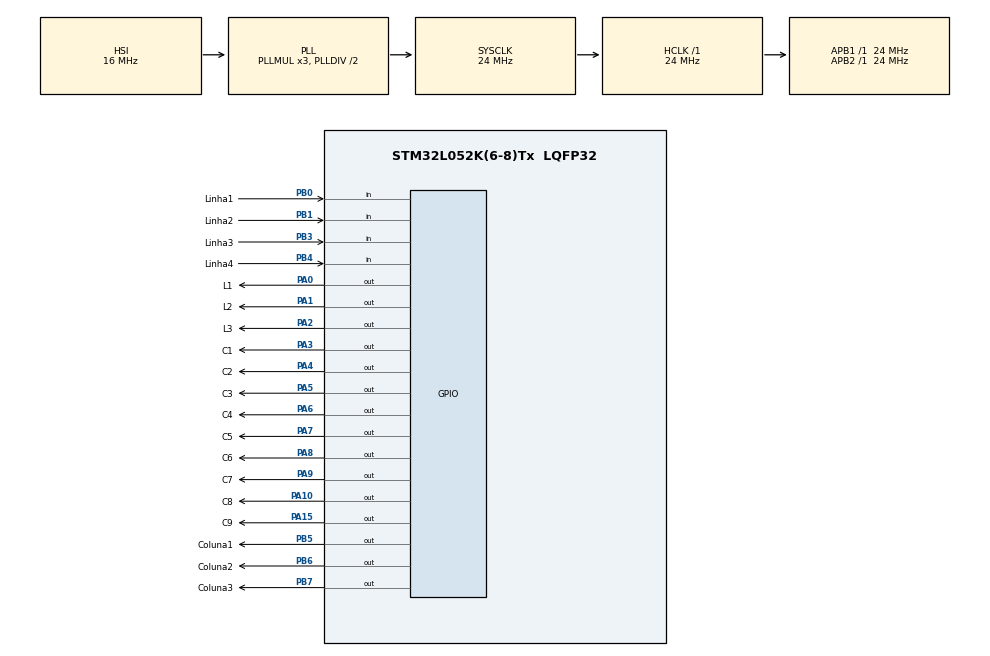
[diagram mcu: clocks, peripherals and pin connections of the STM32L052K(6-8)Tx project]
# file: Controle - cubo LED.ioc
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Mcu.Family=STM32L0
Mcu.Name=STM32L052K(6-8)Tx
Mcu.Package=LQFP32
NVIC.TIM6_DAC_IRQn=true\:0\:0\:false\:false\:true\:true\:true
PA0.GPIO_Label=L1
PA0.GPIO_PuPd=GPIO_PULLDOWN
PA0.Signal=GPIO_Output
PA1.GPIO_Label=L2
PA1.GPIO_PuPd=GPIO_PULLDOWN
PA1.Signal=GPIO_Output
PA10.GPIO_Label=C8
PA10.Signal=GPIO_Output
PA15.GPIO_Label=C9
PA15.Signal=GPIO_Output
PA2.GPIO_Label=L3
PA2.GPIO_PuPd=GPIO_PULLDOWN
PA2.Signal=GPIO_Output
PA3.GPIO_Label=C1
PA3.GPIO_PuPd=GPIO_NOPULL
PA3.Signal=GPIO_Output
PA4.GPIO_Label=C2
PA4.GPIO_PuPd=GPIO_NOPULL
PA4.Signal=GPIO_Output
PA5.GPIO_Label=C3
PA5.GPIO_PuPd=GPIO_NOPULL
PA5.Signal=GPIO_Output
PA6.GPIO_Label=C4
PA6.GPIO_PuPd=GPIO_NOPULL
PA6.Signal=GPIO_Output
PA7.GPIO_Label=C5
PA7.GPIO_PuPd=GPIO_NOPULL
PA7.Signal=GPIO_Output
PA8.GPIO_Label=C6
PA8.Signal=GPIO_Output
PA9.GPIO_Label=C7
PA9.Signal=GPIO_Output
PB0.GPIO_Label=Linha1
PB0.GPIO_PuPd=GPIO_PULLUP
PB0.Signal=GPIO_Input
PB1.GPIO_Label=Linha2
PB1.GPIO_PuPd=GPIO_PULLUP
PB1.Signal=GPIO_Input
PB3.GPIO_Label=Linha3
PB3.GPIO_PuPd=GPIO_PULLUP
PB3.Signal=GPIO_Input
PB4.GPIO_Label=Linha4
PB4.GPIO_PuPd=GPIO_PULLUP
PB4.Signal=GPIO_Input
PB5.GPIO_Label=Coluna1
PB5.Signal=GPIO_Output
PB6.GPIO_Label=Coluna2
PB6.Signal=GPIO_Output
PB7.GPIO_Label=Coluna3
PB7.Signal=GPIO_Output
ProjectManager.HeapSize=0x200
ProjectManager.StackSize=0x400
ProjectManager.TargetToolchain=MDK-ARM V5.32
RCC.AHBFreq_Value=24000000
RCC.APB1Freq_Value=24000000
RCC.APB1TimFreq_Value=24000000
RCC.APB2Freq_Value=24000000
RCC.APB2TimFreq_Value=24000000
RCC.HCLKFreq_Value=24000000
RCC.HSI16_VALUE=16000000
RCC.HSI48_VALUE=48000000
RCC.HSI_VALUE=16000000
RCC.LSE_VALUE=32768
RCC.MSI_VALUE=2097000
RCC.SYSCLKFreq_VALUE=24000000
RCC.SYSCLKSource=RCC_SYSCLKSOURCE_PLLCLK
RCC.VCOOutputFreq_Value=48000000
TIM6.AutoReloadPreload=TIM_AUTORELOAD_PRELOAD_ENABLE
TIM6.Period=240
TIM6.Prescaler=100
VP_TIM6_VS_ClockSourceINT.Mode=Enable_Timer
board=custom

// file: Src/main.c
/* USER CODE BEGIN Header */
/**
  ******************************************************************************
  * @file           : main.c
  * @brief          : Main program body
  ******************************************************************************
  * @attention
  *
  * Copyright (c) 2022 STMicroelectronics.
  * All rights reserved.
  *
  * This software is licensed under terms that can be found in the LICENSE file
  * in the root directory of this software component.
  * If no LICENSE file comes with this software, it is provided AS-IS.
  *
  ******************************************************************************
  */
/* USER CODE END Header */
#include "main.h"
#include "tim.h"
#include "gpio.h"

/* USER CODE BEGIN PD */

#define T_ligado 100
#define T_desligado 1
#define Transissao 75

/* USER CODE END PD */

/* USER CODE BEGIN PV */
	int y=1,x=0;
	int vtec=0;

	void controle(void);
	void vartec(void);

/* USER CODE END PV */

void SystemClock_Config(void);

/* USER CODE BEGIN 0 */

	int matriz [9][3]= {{0,0,0},{0,1,0},{0,0,0},	//	coluna (de 1 a 9) x layer(de 3 a 1)
											{0,1,0},{1,1,1},{0,1,0},
											{0,0,0},{0,1,0},{0,0,0}};

/* USER CODE END 0 */

int main(void)
{

  /* MCU Configuration--------------------------------------------------------*/

  /* Reset of all peripherals, Initializes the Flash interface and the Systick. */
  HAL_Init();

  /* Configure the system clock */
  SystemClock_Config();

  /* Initialize all configured peripherals */
  MX_GPIO_Init();
  MX_TIM6_Init();
  /* USER CODE BEGIN 2 */

	HAL_TIM_Base_Start_IT(&htim6);
  /* USER CODE END 2 */

  /* Infinite loop */
  /* USER CODE BEGIN WHILE */
  while (1)
  {
		switch(vtec)
		{
			case 1: //CIMA PARA BAIXO:
						  HAL_GPIO_WritePin(C1_GPIO_Port,C1_Pin,GPIO_PIN_SET);
							HAL_GPIO_WritePin(C2_GPIO_Port,C2_Pin,GPIO_PIN_SET);
							HAL_GPIO_WritePin(C3_GPIO_Port,C3_Pin,GPIO_PIN_SET);
							HAL_GPIO_WritePin(C4_GPIO_Port,C4_Pin,GPIO_PIN_SET);
							HAL_GPIO_WritePin(C5_GPIO_Port,C5_Pin,GPIO_PIN_SET);
							HAL_GPIO_WritePin(C6_GPIO_Port,C6_Pin,GPIO_PIN_SET);
							HAL_GPIO_WritePin(C7_GPIO_Port,C7_Pin,GPIO_PIN_SET);
							HAL_GPIO_WritePin(C8_GPIO_Port,C8_Pin,GPIO_PIN_SET);
							HAL_GPIO_WritePin(C9_GPIO_Port,C9_Pin,GPIO_PIN_SET);

							HAL_GPIO_WritePin(L1_GPIO_Port,L1_Pin,GPIO_PIN_SET);
							HAL_Delay(T_ligado);
							HAL_GPIO_WritePin(L1_GPIO_Port,L1_Pin,GPIO_PIN_RESET);
							HAL_Delay(T_desligado);

							HAL_GPIO_WritePin(L2_GPIO_Port,L2_Pin,GPIO_PIN_SET);
							HAL_Delay(T_ligado);
							HAL_GPIO_WritePin(L2_GPIO_Port,L2_Pin,GPIO_PIN_RESET);
							HAL_Delay(T_desligado);

							HAL_GPIO_WritePin(L3_GPIO_Port,L3_Pin,GPIO_PIN_SET);
							HAL_Delay(T_ligado);
							HAL_GPIO_WritePin(L3_GPIO_Port,L3_Pin,GPIO_PIN_RESET);
							HAL_Delay(Transissao);

							//BAIXO PARA CIMA:
							HAL_GPIO_WritePin(L3_GPIO_Port,L3_Pin,GPIO_PIN_SET);
							HAL_Delay(T_ligado);

							HAL_GPIO_WritePin(L3_GPIO_Port,L3_Pin,GPIO_PIN_RESET);

							HAL_Delay(T_desligado);

							HAL_GPIO_WritePin(L2_GPIO_Port,L2_Pin,GPIO_PIN_SET);

							HAL_Delay(T_ligado);

							HAL_GPIO_WritePin(L2_GPIO_Port,L2_Pin,GPIO_PIN_RESET);

							HAL_Delay(T_desligado);

							HAL_GPIO_WritePin(L1_GPIO_Port,L1_Pin,GPIO_PIN_SET);

							HAL_Delay(T_ligado);

							HAL_GPIO_WritePin(L1_GPIO_Port,L1_Pin,GPIO_PIN_RESET);

							HAL_GPIO_WritePin(C1_GPIO_Port,C1_Pin,GPIO_PIN_RESET);
							HAL_GPIO_WritePin(C2_GPIO_Port,C2_Pin,GPIO_PIN_RESET);
							HAL_GPIO_WritePin(C3_GPIO_Port,C3_Pin,GPIO_PIN_RESET);
							HAL_GPIO_WritePin(C4_GPIO_Port,C4_Pin,GPIO_PIN_RESET);
							HAL_GPIO_WritePin(C5_GPIO_Port,C5_Pin,GPIO_PIN_RESET);
							HAL_GPIO_WritePin(C6_GPIO_Port,C6_Pin,GPIO_PIN_RESET);
							HAL_GPIO_WritePin(C7_GPIO_Port,C7_Pin,GPIO_PIN_RESET);
							HAL_GPIO_WritePin(C8_GPIO_Port,C8_Pin,GPIO_PIN_RESET);
							HAL_GPIO_WritePin(C9_GPIO_Port,C9_Pin,GPIO_PIN_RESET);

							HAL_Delay(Transissao);

							//ESQUERDA PARA DIREITA
							HAL_GPIO_WritePin(L1_GPIO_Port,L1_Pin,GPIO_PIN_SET);
							HAL_GPIO_WritePin(L2_GPIO_Port,L2_Pin,GPIO_PIN_SET);
							HAL_GPIO_WritePin(L3_GPIO_Port,L3_Pin,GPIO_PIN_SET);

							HAL_GPIO_WritePin(C1_GPIO_Port,C1_Pin,GPIO_PIN_SET);
							HAL_GPIO_WritePin(C2_GPIO_Port,C2_Pin,GPIO_PIN_SET);
							HAL_GPIO_WritePin(C3_GPIO_Port,C3_Pin,GPIO_PIN_SET);
							HAL_Delay(T_ligado);
							HAL_GPIO_WritePin(C1_GPIO_Port,C1_Pin,GPIO_PIN_RESET);
							HAL_GPIO_WritePin(C2_GPIO_Port,C2_Pin,GPIO_PIN_RESET);
							HAL_GPIO_WritePin(C3_GPIO_Port,C3_Pin,GPIO_PIN_RESET);
							HAL_Delay(T_desligado);

							HAL_GPIO_WritePin(C4_GPIO_Port,C4_Pin,GPIO_PIN_SET);
							HAL_GPIO_WritePin(C5_GPIO_Port,C5_Pin,GPIO_PIN_SET);
							HAL_GPIO_WritePin(C6_GPIO_Port,C6_Pin,GPIO_PIN_SET);
							HAL_Delay(T_ligado);
							HAL_GPIO_WritePin(C4_GPIO_Port,C4_Pin,GPIO_PIN_RESET);
							HAL_GPIO_WritePin(C5_GPIO_Port,C5_Pin,GPIO_PIN_RESET);
							HAL_GPIO_WritePin(C6_GPIO_Port,C6_Pin,GPIO_PIN_RESET);
							HAL_Delay(T_desligado);

							HAL_GPIO_WritePin(C7_GPIO_Port,C7_Pin,GPIO_PIN_SET);
							HAL_GPIO_WritePin(C8_GPIO_Port,C8_Pin,GPIO_PIN_SET);
							HAL_GPIO_WritePin(C9_GPIO_Port,C9_Pin,GPIO_PIN_SET);
							HAL_Delay(T_ligado);
							HAL_GPIO_WritePin(C7_GPIO_Port,C7_Pin,GPIO_PIN_RESET);
							HAL_GPIO_WritePin(C8_GPIO_Port,C8_Pin,GPIO_PIN_RESET);
							HAL_GPIO_WritePin(C9_GPIO_Port,C9_Pin,GPIO_PIN_RESET);
							HAL_Delay(Transissao);

							//DIREIRA PARA ESQUERDA
							HAL_GPIO_WritePin(C7_GPIO_Port,C7_Pin,GPIO_PIN_SET);
							HAL_GPIO_WritePin(C8_GPIO_Port,C8_Pin,GPIO_PIN_SET);
							HAL_GPIO_WritePin(C9_GPIO_Port,C9_Pin,GPIO_PIN_SET);
							HAL_Delay(T_ligado);
							HAL_GPIO_WritePin(C7_GPIO_Port,C7_Pin,GPIO_PIN_RESET);
							HAL_GPIO_WritePin(C8_GPIO_Port,C8_Pin,GPIO_PIN_RESET);
							HAL_GPIO_WritePin(C9_GPIO_Port,C9_Pin,GPIO_PIN_RESET);
							HAL_Delay(T_desligado);

							HAL_GPIO_WritePin(C4_GPIO_Port,C4_Pin,GPIO_PIN_SET);
							HAL_GPIO_WritePin(C5_GPIO_Port,C5_Pin,GPIO_PIN_SET);
							HAL_GPIO_WritePin(C6_GPIO_Port,C6_Pin,GPIO_PIN_SET);
							HAL_Delay(T_ligado);
							HAL_GPIO_WritePin(C4_GPIO_Port,C4_Pin,GPIO_PIN_RESET);
							HAL_GPIO_WritePin(C5_GPIO_Port,C5_Pin,GPIO_PIN_RESET);
							HAL_GPIO_WritePin(C6_GPIO_Port,C6_Pin,GPIO_PIN_RESET);
							HAL_Delay(T_desligado);

							HAL_GPIO_WritePin(C1_GPIO_Port,C1_Pin,GPIO_PIN_SET);
							HAL_GPIO_WritePin(C2_GPIO_Port,C2_Pin,GPIO_PIN_SET);
							HAL_GPIO_WritePin(C3_GPIO_Port,C3_Pin,GPIO_PIN_SET);
							HAL_Delay(T_ligado);
							HAL_GPIO_WritePin(C1_GPIO_Port,C1_Pin,GPIO_PIN_RESET);
							HAL_GPIO_WritePin(C2_GPIO_Port,C2_Pin,GPIO_PIN_RESET);
							HAL_GPIO_WritePin(C3_GPIO_Port,C3_Pin,GPIO_PIN_RESET);
							HAL_Delay(T_desligado);

							HAL_GPIO_WritePin(L1_GPIO_Port,L1_Pin,GPIO_PIN_RESET);
							HAL_GPIO_WritePin(L2_GPIO_Port,L2_Pin,GPIO_PIN_RESET);
							HAL_GPIO_WritePin(L3_GPIO_Port,L3_Pin,GPIO_PIN_RESET);
							HAL_Delay(Transissao);

							//FRENTE PARA TRаS
							HAL_GPIO_WritePin(L1_GPIO_Port,L1_Pin,GPIO_PIN_SET);
							HAL_GPIO_WritePin(L2_GPIO_Port,L2_Pin,GPIO_PIN_SET);
							HAL_GPIO_WritePin(L3_GPIO_Port,L3_Pin,GPIO_PIN_SET);

							HAL_GPIO_WritePin(C1_GPIO_Port,C1_Pin,GPIO_PIN_SET);
							HAL_GPIO_WritePin(C4_GPIO_Port,C4_Pin,GPIO_PIN_SET);
							HAL_GPIO_WritePin(C7_GPIO_Port,C7_Pin,GPIO_PIN_SET);
							HAL_Delay(T_ligado);
							HAL_GPIO_WritePin(C1_GPIO_Port,C1_Pin,GPIO_PIN_RESET);
							HAL_GPIO_WritePin(C4_GPIO_Port,C4_Pin,GPIO_PIN_RESET);
							HAL_GPIO_WritePin(C7_GPIO_Port,C7_Pin,GPIO_PIN_RESET);
							HAL_Delay(T_desligado);

							HAL_GPIO_WritePin(C2_GPIO_Port,C2_Pin,GPIO_PIN_SET);
							HAL_GPIO_WritePin(C5_GPIO_Port,C5_Pin,GPIO_PIN_SET);
							HAL_GPIO_WritePin(C8_GPIO_Port,C8_Pin,GPIO_PIN_SET);
							HAL_Delay(T_ligado);
							HAL_GPIO_WritePin(C2_GPIO_Port,C2_Pin,GPIO_PIN_RESET);
							HAL_GPIO_WritePin(C5_GPIO_Port,C5_Pin,GPIO_PIN_RESET);
							HAL_GPIO_WritePin(C8_GPIO_Port,C8_Pin,GPIO_PIN_RESET);
							HAL_Delay(T_desligado);

							HAL_GPIO_WritePin(C3_GPIO_Port,C3_Pin,GPIO_PIN_SET);
							HAL_GPIO_WritePin(C6_GPIO_Port,C6_Pin,GPIO_PIN_SET);
							HAL_GPIO_WritePin(C9_GPIO_Port,C9_Pin,GPIO_PIN_SET);
							HAL_Delay(T_ligado);
							HAL_GPIO_WritePin(C3_GPIO_Port,C3_Pin,GPIO_PIN_RESET);
							HAL_GPIO_WritePin(C6_GPIO_Port,C6_Pin,GPIO_PIN_RESET);
							HAL_GPIO_WritePin(C9_GPIO_Port,C9_Pin,GPIO_PIN_RESET);
							HAL_Delay(Transissao);

							// TRаS PARA FRENTE
							HAL_GPIO_WritePin(C3_GPIO_Port,C3_Pin,GPIO_PIN_SET);
							HAL_GPIO_WritePin(C6_GPIO_Port,C6_Pin,GPIO_PIN_SET);
							HAL_GPIO_WritePin(C9_GPIO_Port,C9_Pin,GPIO_PIN_SET);
							HAL_Delay(T_ligado);
							HAL_GPIO_WritePin(C3_GPIO_Port,C3_Pin,GPIO_PIN_RESET);
							HAL_GPIO_WritePin(C6_GPIO_Port,C6_Pin,GPIO_PIN_RESET);
							HAL_GPIO_WritePin(C9_GPIO_Port,C9_Pin,GPIO_PIN_RESET);
							HAL_Delay(T_desligado);

							HAL_GPIO_WritePin(C2_GPIO_Port,C2_Pin,GPIO_PIN_SET);
							HAL_GPIO_WritePin(C5_GPIO_Port,C5_Pin,GPIO_PIN_SET);
							HAL_GPIO_WritePin(C8_GPIO_Port,C8_Pin,GPIO_PIN_SET);
							HAL_Delay(T_ligado);
							HAL_GPIO_WritePin(C2_GPIO_Port,C2_Pin,GPIO_PIN_RESET);
							HAL_GPIO_WritePin(C5_GPIO_Port,C5_Pin,GPIO_PIN_RESET);
							HAL_GPIO_WritePin(C8_GPIO_Port,C8_Pin,GPIO_PIN_RESET);
							HAL_Delay(T_desligado);

							HAL_GPIO_WritePin(C1_GPIO_Port,C1_Pin,GPIO_PIN_SET);
							HAL_GPIO_WritePin(C4_GPIO_Port,C4_Pin,GPIO_PIN_SET);
							HAL_GPIO_WritePin(C7_GPIO_Port,C7_Pin,GPIO_PIN_SET);
							HAL_Delay(T_ligado);
							HAL_GPIO_WritePin(C1_GPIO_Port,C1_Pin,GPIO_PIN_RESET);
							HAL_GPIO_WritePin(C4_GPIO_Port,C4_Pin,GPIO_PIN_RESET);
							HAL_GPIO_WritePin(C7_GPIO_Port,C7_Pin,GPIO_PIN_RESET);
							HAL_Delay(T_desligado);

							HAL_GPIO_WritePin(L1_GPIO_Port,L1_Pin,GPIO_PIN_RESET);
							HAL_GPIO_WritePin(L2_GPIO_Port,L2_Pin,GPIO_PIN_RESET);
							HAL_GPIO_WritePin(L3_GPIO_Port,L3_Pin,GPIO_PIN_RESET);
							HAL_Delay(Transissao);
							break;

			case 2: //ESPIRAL
							HAL_GPIO_WritePin(L1_GPIO_Port,L1_Pin,GPIO_PIN_SET);

							HAL_GPIO_WritePin(C1_GPIO_Port,C1_Pin,GPIO_PIN_SET);
							HAL_Delay(T_ligado);

							HAL_GPIO_WritePin(C2_GPIO_Port,C2_Pin,GPIO_PIN_SET);
							HAL_Delay(T_ligado);

							HAL_GPIO_WritePin(C3_GPIO_Port,C3_Pin,GPIO_PIN_SET);
							HAL_Delay(T_ligado);

							HAL_GPIO_WritePin(C6_GPIO_Port,C6_Pin,GPIO_PIN_SET);
							HAL_Delay(T_ligado);

							HAL_GPIO_WritePin(C9_GPIO_Port,C9_Pin,GPIO_PIN_SET);
							HAL_Delay(T_ligado);

							HAL_GPIO_WritePin(C8_GPIO_Port,C8_Pin,GPIO_PIN_SET);
							HAL_Delay(T_ligado);

							HAL_GPIO_WritePin(C7_GPIO_Port,C7_Pin,GPIO_PIN_SET);
							HAL_Delay(T_ligado);

							HAL_GPIO_WritePin(C4_GPIO_Port,C4_Pin,GPIO_PIN_SET);
							HAL_Delay(T_ligado);

							HAL_GPIO_WritePin(C5_GPIO_Port,C5_Pin,GPIO_PIN_SET);
							HAL_Delay(T_ligado);

							HAL_GPIO_WritePin(C1_GPIO_Port,C1_Pin,GPIO_PIN_RESET);
							HAL_GPIO_WritePin(C2_GPIO_Port,C2_Pin,GPIO_PIN_RESET);
							HAL_GPIO_WritePin(C3_GPIO_Port,C3_Pin,GPIO_PIN_RESET);
							HAL_GPIO_WritePin(C4_GPIO_Port,C4_Pin,GPIO_PIN_RESET);
							HAL_GPIO_WritePin(C6_GPIO_Port,C6_Pin,GPIO_PIN_RESET);
							HAL_GPIO_WritePin(C5_GPIO_Port,C5_Pin,GPIO_PIN_RESET);
							HAL_GPIO_WritePin(C7_GPIO_Port,C7_Pin,GPIO_PIN_RESET);
							HAL_GPIO_WritePin(C8_GPIO_Port,C8_Pin,GPIO_PIN_RESET);
							HAL_GPIO_WritePin(C9_GPIO_Port,C9_Pin,GPIO_PIN_RESET);
							HAL_Delay(Transissao);

							HAL_GPIO_WritePin(L1_GPIO_Port,L1_Pin,GPIO_PIN_RESET);
							HAL_GPIO_WritePin(L2_GPIO_Port,L2_Pin,GPIO_PIN_SET);

							HAL_GPIO_WritePin(C1_GPIO_Port,C1_Pin,GPIO_PIN_SET);
							HAL_Delay(T_ligado);

							HAL_GPIO_WritePin(C2_GPIO_Port,C2_Pin,GPIO_PIN_SET);
							HAL_Delay(T_ligado);

							HAL_GPIO_WritePin(C3_GPIO_Port,C3_Pin,GPIO_PIN_SET);
							HAL_Delay(T_ligado);

							HAL_GPIO_WritePin(C6_GPIO_Port,C6_Pin,GPIO_PIN_SET);
							HAL_Delay(T_ligado);

							HAL_GPIO_WritePin(C9_GPIO_Port,C9_Pin,GPIO_PIN_SET);
							HAL_Delay(T_ligado);

							HAL_GPIO_WritePin(C8_GPIO_Port,C8_Pin,GPIO_PIN_SET);
							HAL_Delay(T_ligado);

							HAL_GPIO_WritePin(C7_GPIO_Port,C7_Pin,GPIO_PIN_SET);
							HAL_Delay(T_ligado);

							HAL_GPIO_WritePin(C4_GPIO_Port,C4_Pin,GPIO_PIN_SET);
							HAL_Delay(T_ligado);

							HAL_GPIO_WritePin(C5_GPIO_Port,C5_Pin,GPIO_PIN_SET);
							HAL_Delay(T_ligado);

							HAL_GPIO_WritePin(C1_GPIO_Port,C1_Pin,GPIO_PIN_RESET);
							HAL_GPIO_WritePin(C2_GPIO_Port,C2_Pin,GPIO_PIN_RESET);
							HAL_GPIO_WritePin(C3_GPIO_Port,C3_Pin,GPIO_PIN_RESET);
							HAL_GPIO_WritePin(C4_GPIO_Port,C4_Pin,GPIO_PIN_RESET);
							HAL_GPIO_WritePin(C6_GPIO_Port,C6_Pin,GPIO_PIN_RESET);
							HAL_GPIO_WritePin(C5_GPIO_Port,C5_Pin,GPIO_PIN_RESET);
							HAL_GPIO_WritePin(C7_GPIO_Port,C7_Pin,GPIO_PIN_RESET);
							HAL_GPIO_WritePin(C8_GPIO_Port,C8_Pin,GPIO_PIN_RESET);
							HAL_GPIO_WritePin(C9_GPIO_Port,C9_Pin,GPIO_PIN_RESET);
							HAL_Delay(Transissao);

							HAL_GPIO_WritePin(L2_GPIO_Port,L2_Pin,GPIO_PIN_RESET);
							HAL_GPIO_WritePin(L3_GPIO_Port,L3_Pin,GPIO_PIN_SET);

							HAL_GPIO_WritePin(C1_GPIO_Port,C1_Pin,GPIO_PIN_SET);
							HAL_Delay(T_ligado);

							HAL_GPIO_WritePin(C2_GPIO_Port,C2_Pin,GPIO_PIN_SET);
							HAL_Delay(T_ligado);

							HAL_GPIO_WritePin(C3_GPIO_Port,C3_Pin,GPIO_PIN_SET);
							HAL_Delay(T_ligado);

							HAL_GPIO_WritePin(C6_GPIO_Port,C6_Pin,GPIO_PIN_SET);
							HAL_Delay(T_ligado);

							HAL_GPIO_WritePin(C9_GPIO_Port,C9_Pin,GPIO_PIN_SET);
							HAL_Delay(T_ligado);

							HAL_GPIO_WritePin(C8_GPIO_Port,C8_Pin,GPIO_PIN_SET);
							HAL_Delay(T_ligado);

							HAL_GPIO_WritePin(C7_GPIO_Port,C7_Pin,GPIO_PIN_SET);
							HAL_Delay(T_ligado);

							HAL_GPIO_WritePin(C4_GPIO_Port,C4_Pin,GPIO_PIN_SET);
							HAL_Delay(T_ligado);

							HAL_GPIO_WritePin(C5_GPIO_Port,C5_Pin,GPIO_PIN_SET);
							HAL_Delay(T_ligado);

							HAL_GPIO_WritePin(C1_GPIO_Port,C1_Pin,GPIO_PIN_RESET);
							HAL_GPIO_WritePin(C2_GPIO_Port,C2_Pin,GPIO_PIN_RESET);
							HAL_GPIO_WritePin(C3_GPIO_Port,C3_Pin,GPIO_PIN_RESET);
							HAL_GPIO_WritePin(C4_GPIO_Port,C4_Pin,GPIO_PIN_RESET);
							HAL_GPIO_WritePin(C6_GPIO_Port,C6_Pin,GPIO_PIN_RESET);
							HAL_GPIO_WritePin(C5_GPIO_Port,C5_Pin,GPIO_PIN_RESET);
							HAL_GPIO_WritePin(C7_GPIO_Port,C7_Pin,GPIO_PIN_RESET);
							HAL_GPIO_WritePin(C8_GPIO_Port,C8_Pin,GPIO_PIN_RESET);
							HAL_GPIO_WritePin(C9_GPIO_Port,C9_Pin,GPIO_PIN_RESET);
							HAL_Delay(Transissao);

							HAL_GPIO_WritePin(L3_GPIO_Port,L3_Pin,GPIO_PIN_RESET);

							//ESPIRAL INVERSA
							HAL_GPIO_WritePin(L3_GPIO_Port,L3_Pin,GPIO_PIN_SET);

							HAL_GPIO_WritePin(C1_GPIO_Port,C1_Pin,GPIO_PIN_SET);
							HAL_Delay(T_ligado);

							HAL_GPIO_WritePin(C2_GPIO_Port,C2_Pin,GPIO_PIN_SET);
							HAL_Delay(T_ligado);

							HAL_GPIO_WritePin(C3_GPIO_Port,C3_Pin,GPIO_PIN_SET);
							HAL_Delay(T_ligado);

							HAL_GPIO_WritePin(C6_GPIO_Port,C6_Pin,GPIO_PIN_SET);
							HAL_Delay(T_ligado);

							HAL_GPIO_WritePin(C9_GPIO_Port,C9_Pin,GPIO_PIN_SET);
							HAL_Delay(T_ligado);

							HAL_GPIO_WritePin(C8_GPIO_Port,C8_Pin,GPIO_PIN_SET);
							HAL_Delay(T_ligado);

							HAL_GPIO_WritePin(C7_GPIO_Port,C7_Pin,GPIO_PIN_SET);
							HAL_Delay(T_ligado);

							HAL_GPIO_WritePin(C4_GPIO_Port,C4_Pin,GPIO_PIN_SET);
							HAL_Delay(T_ligado);

							HAL_GPIO_WritePin(C5_GPIO_Port,C5_Pin,GPIO_PIN_SET);
							HAL_Delay(T_ligado);

							HAL_GPIO_WritePin(C1_GPIO_Port,C1_Pin,GPIO_PIN_RESET);
							HAL_GPIO_WritePin(C2_GPIO_Port,C2_Pin,GPIO_PIN_RESET);
							HAL_GPIO_WritePin(C3_GPIO_Port,C3_Pin,GPIO_PIN_RESET);
							HAL_GPIO_WritePin(C4_GPIO_Port,C4_Pin,GPIO_PIN_RESET);
							HAL_GPIO_WritePin(C6_GPIO_Port,C6_Pin,GPIO_PIN_RESET);
							HAL_GPIO_WritePin(C5_GPIO_Port,C5_Pin,GPIO_PIN_RESET);
							HAL_GPIO_WritePin(C7_GPIO_Port,C7_Pin,GPIO_PIN_RESET);
							HAL_GPIO_WritePin(C8_GPIO_Port,C8_Pin,GPIO_PIN_RESET);
							HAL_GPIO_WritePin(C9_GPIO_Port,C9_Pin,GPIO_PIN_RESET);
							HAL_Delay(Transissao);

							HAL_GPIO_WritePin(L3_GPIO_Port,L3_Pin,GPIO_PIN_RESET);
							HAL_GPIO_WritePin(L2_GPIO_Port,L2_Pin,GPIO_PIN_SET);

							HAL_GPIO_WritePin(C1_GPIO_Port,C1_Pin,GPIO_PIN_SET);
							HAL_Delay(T_ligado);

							HAL_GPIO_WritePin(C2_GPIO_Port,C2_Pin,GPIO_PIN_SET);
							HAL_Delay(T_ligado);

							HAL_GPIO_WritePin(C3_GPIO_Port,C3_Pin,GPIO_PIN_SET);
							HAL_Delay(T_ligado);

							HAL_GPIO_WritePin(C6_GPIO_Port,C6_Pin,GPIO_PIN_SET);
							HAL_Delay(T_ligado);

							HAL_GPIO_WritePin(C9_GPIO_Port,C9_Pin,GPIO_PIN_SET);
							HAL_Delay(T_ligado);

							HAL_GPIO_WritePin(C8_GPIO_Port,C8_Pin,GPIO_PIN_SET);
							HAL_Delay(T_ligado);

							HAL_GPIO_WritePin(C7_GPIO_Port,C7_Pin,GPIO_PIN_SET);
							HAL_Delay(T_ligado);

							HAL_GPIO_WritePin(C4_GPIO_Port,C4_Pin,GPIO_PIN_SET);
							HAL_Delay(T_ligado);

							HAL_GPIO_WritePin(C5_GPIO_Port,C5_Pin,GPIO_PIN_SET);
							HAL_Delay(T_ligado);

							HAL_GPIO_WritePin(C1_GPIO_Port,C1_Pin,GPIO_PIN_RESET);
							HAL_GPIO_WritePin(C2_GPIO_Port,C2_Pin,GPIO_PIN_RESET);
							HAL_GPIO_WritePin(C3_GPIO_Port,C3_Pin,GPIO_PIN_RESET);
							HAL_GPIO_WritePin(C4_GPIO_Port,C4_Pin,GPIO_PIN_RESET);
							HAL_GPIO_WritePin(C6_GPIO_Port,C6_Pin,GPIO_PIN_RESET);
							HAL_GPIO_WritePin(C5_GPIO_Port,C5_Pin,GPIO_PIN_RESET);
							HAL_GPIO_WritePin(C7_GPIO_Port,C7_Pin,GPIO_PIN_RESET);
							HAL_GPIO_WritePin(C8_GPIO_Port,C8_Pin,GPIO_PIN_RESET);
							HAL_GPIO_WritePin(C9_GPIO_Port,C9_Pin,GPIO_PIN_RESET);
							HAL_Delay(Transissao);

							HAL_GPIO_WritePin(L2_GPIO_Port,L2_Pin,GPIO_PIN_RESET);
							HAL_GPIO_WritePin(L1_GPIO_Port,L1_Pin,GPIO_PIN_SET);

							HAL_GPIO_WritePin(C1_GPIO_Port,C1_Pin,GPIO_PIN_SET);
							HAL_Delay(T_ligado);

							HAL_GPIO_WritePin(C2_GPIO_Port,C2_Pin,GPIO_PIN_SET);
							HAL_Delay(T_ligado);

							HAL_GPIO_WritePin(C3_GPIO_Port,C3_Pin,GPIO_PIN_SET);
							HAL_Delay(T_ligado);

							HAL_GPIO_WritePin(C6_GPIO_Port,C6_Pin,GPIO_PIN_SET);
							HAL_Delay(T_ligado);

							HAL_GPIO_WritePin(C9_GPIO_Port,C9_Pin,GPIO_PIN_SET);
							HAL_Delay(T_ligado);

							HAL_GPIO_WritePin(C8_GPIO_Port,C8_Pin,GPIO_PIN_SET);
							HAL_Delay(T_ligado);

							HAL_GPIO_WritePin(C7_GPIO_Port,C7_Pin,GPIO_PIN_SET);
							HAL_Delay(T_ligado);

							HAL_GPIO_WritePin(C4_GPIO_Port,C4_Pin,GPIO_PIN_SET);
							HAL_Delay(T_ligado);

							HAL_GPIO_WritePin(C5_GPIO_Port,C5_Pin,GPIO_PIN_SET);
							HAL_Delay(T_ligado);

							HAL_GPIO_WritePin(C1_GPIO_Port,C1_Pin,GPIO_PIN_RESET);
							HAL_GPIO_WritePin(C2_GPIO_Port,C2_Pin,GPIO_PIN_RESET);
							HAL_GPIO_WritePin(C3_GPIO_Port,C3_Pin,GPIO_PIN_RESET);
							HAL_GPIO_WritePin(C4_GPIO_Port,C4_Pin,GPIO_PIN_RESET);
							HAL_GPIO_WritePin(C5_GPIO_Port,C5_Pin,GPIO_PIN_RESET);
							HAL_GPIO_WritePin(C6_GPIO_Port,C6_Pin,GPIO_PIN_RESET);
							HAL_GPIO_WritePin(C7_GPIO_Port,C7_Pin,GPIO_PIN_RESET);
							HAL_GPIO_WritePin(C8_GPIO_Port,C8_Pin,GPIO_PIN_RESET);
							HAL_GPIO_WritePin(C9_GPIO_Port,C9_Pin,GPIO_PIN_RESET);
							HAL_Delay(Transissao);

							HAL_GPIO_WritePin(L1_GPIO_Port,L1_Pin,GPIO_PIN_RESET);
							break;

		case 3: //CUBINHOS
						HAL_GPIO_WritePin(L1_GPIO_Port,L1_Pin,GPIO_PIN_SET);
						HAL_GPIO_WritePin(L2_GPIO_Port,L2_Pin,GPIO_PIN_SET);

						HAL_GPIO_WritePin(C1_GPIO_Port,C1_Pin,GPIO_PIN_SET);
						HAL_GPIO_WritePin(C2_GPIO_Port,C2_Pin,GPIO_PIN_SET);
						HAL_GPIO_WritePin(C4_GPIO_Port,C4_Pin,GPIO_PIN_SET);
						HAL_GPIO_WritePin(C5_GPIO_Port,C5_Pin,GPIO_PIN_SET);
						HAL_Delay(T_ligado);

						HAL_GPIO_WritePin(C1_GPIO_Port,C1_Pin,GPIO_PIN_RESET);
						HAL_GPIO_WritePin(C2_GPIO_Port,C2_Pin,GPIO_PIN_RESET);
						HAL_GPIO_WritePin(C4_GPIO_Port,C4_Pin,GPIO_PIN_RESET);
						HAL_GPIO_WritePin(C5_GPIO_Port,C5_Pin,GPIO_PIN_RESET);
						HAL_Delay(Transissao);

						HAL_GPIO_WritePin(C7_GPIO_Port,C7_Pin,GPIO_PIN_SET);
						HAL_GPIO_WritePin(C8_GPIO_Port,C8_Pin,GPIO_PIN_SET);
						HAL_GPIO_WritePin(C4_GPIO_Port,C4_Pin,GPIO_PIN_SET);
						HAL_GPIO_WritePin(C5_GPIO_Port,C5_Pin,GPIO_PIN_SET);
						HAL_Delay(T_ligado);

						HAL_GPIO_WritePin(C7_GPIO_Port,C7_Pin,GPIO_PIN_RESET);
						HAL_GPIO_WritePin(C8_GPIO_Port,C8_Pin,GPIO_PIN_RESET);
						HAL_GPIO_WritePin(C4_GPIO_Port,C4_Pin,GPIO_PIN_RESET);
						HAL_GPIO_WritePin(C5_GPIO_Port,C5_Pin,GPIO_PIN_RESET);
						HAL_Delay(T_desligado);

						HAL_GPIO_WritePin(C9_GPIO_Port,C9_Pin,GPIO_PIN_SET);
						HAL_GPIO_WritePin(C8_GPIO_Port,C8_Pin,GPIO_PIN_SET);
						HAL_GPIO_WritePin(C6_GPIO_Port,C6_Pin,GPIO_PIN_SET);
						HAL_GPIO_WritePin(C5_GPIO_Port,C5_Pin,GPIO_PIN_SET);
						HAL_Delay(T_ligado);

						HAL_GPIO_WritePin(C9_GPIO_Port,C9_Pin,GPIO_PIN_RESET);
						HAL_GPIO_WritePin(C8_GPIO_Port,C8_Pin,GPIO_PIN_RESET);
						HAL_GPIO_WritePin(C6_GPIO_Port,C6_Pin,GPIO_PIN_RESET);
						HAL_GPIO_WritePin(C5_GPIO_Port,C5_Pin,GPIO_PIN_RESET);
						HAL_Delay(T_desligado);

						HAL_GPIO_WritePin(C2_GPIO_Port,C2_Pin,GPIO_PIN_SET);
						HAL_GPIO_WritePin(C3_GPIO_Port,C3_Pin,GPIO_PIN_SET);
						HAL_GPIO_WritePin(C6_GPIO_Port,C6_Pin,GPIO_PIN_SET);
						HAL_GPIO_WritePin(C5_GPIO_Port,C5_Pin,GPIO_PIN_SET);
						HAL_Delay(T_ligado);

						HAL_GPIO_WritePin(C2_GPIO_Port,C2_Pin,GPIO_PIN_RESET);
						HAL_GPIO_WritePin(C3_GPIO_Port,C3_Pin,GPIO_PIN_RESET);
						HAL_GPIO_WritePin(C6_GPIO_Port,C6_Pin,GPIO_PIN_RESET);
						HAL_GPIO_WritePin(C5_GPIO_Port,C5_Pin,GPIO_PIN_RESET);
						HAL_Delay(T_desligado);

						HAL_GPIO_WritePin(L1_GPIO_Port,L1_Pin,GPIO_PIN_RESET);
						HAL_GPIO_WritePin(L2_GPIO_Port,L2_Pin,GPIO_PIN_RESET);

						HAL_GPIO_WritePin(L2_GPIO_Port,L2_Pin,GPIO_PIN_SET);
						HAL_GPIO_WritePin(L3_GPIO_Port,L3_Pin,GPIO_PIN_SET);

						HAL_GPIO_WritePin(C1_GPIO_Port,C1_Pin,GPIO_PIN_SET);
						HAL_GPIO_WritePin(C2_GPIO_Port,C2_Pin,GPIO_PIN_SET);
						HAL_GPIO_WritePin(C4_GPIO_Port,C4_Pin,GPIO_PIN_SET);
						HAL_GPIO_WritePin(C5_GPIO_Port,C5_Pin,GPIO_PIN_SET);
						HAL_Delay(T_ligado);

						HAL_GPIO_WritePin(C1_GPIO_Port,C1_Pin,GPIO_PIN_RESET);
						HAL_GPIO_WritePin(C2_GPIO_Port,C2_Pin,GPIO_PIN_RESET);
						HAL_GPIO_WritePin(C4_GPIO_Port,C4_Pin,GPIO_PIN_RESET);
						HAL_GPIO_WritePin(C5_GPIO_Port,C5_Pin,GPIO_PIN_RESET);
						HAL_Delay(Transissao);

						HAL_GPIO_WritePin(C7_GPIO_Port,C7_Pin,GPIO_PIN_SET);
						HAL_GPIO_WritePin(C8_GPIO_Port,C8_Pin,GPIO_PIN_SET);
						HAL_GPIO_WritePin(C4_GPIO_Port,C4_Pin,GPIO_PIN_SET);
						HAL_GPIO_WritePin(C5_GPIO_Port,C5_Pin,GPIO_PIN_SET);
						HAL_Delay(T_ligado);

						HAL_GPIO_WritePin(C7_GPIO_Port,C7_Pin,GPIO_PIN_RESET);
						HAL_GPIO_WritePin(C8_GPIO_Port,C8_Pin,GPIO_PIN_RESET);
						HAL_GPIO_WritePin(C4_GPIO_Port,C4_Pin,GPIO_PIN_RESET);
						HAL_GPIO_WritePin(C5_GPIO_Port,C5_Pin,GPIO_PIN_RESET);
						HAL_Delay(T_desligado);

						HAL_GPIO_WritePin(C9_GPIO_Port,C9_Pin,GPIO_PIN_SET);
						HAL_GPIO_WritePin(C8_GPIO_Port,C8_Pin,GPIO_PIN_SET);
						HAL_GPIO_WritePin(C6_GPIO_Port,C6_Pin,GPIO_PIN_SET);
						HAL_GPIO_WritePin(C5_GPIO_Port,C5_Pin,GPIO_PIN_SET);
						HAL_Delay(T_ligado);

						HAL_GPIO_WritePin(C9_GPIO_Port,C9_Pin,GPIO_PIN_RESET);
						HAL_GPIO_WritePin(C8_GPIO_Port,C8_Pin,GPIO_PIN_RESET);
						HAL_GPIO_WritePin(C6_GPIO_Port,C6_Pin,GPIO_PIN_RESET);
						HAL_GPIO_WritePin(C5_GPIO_Port,C5_Pin,GPIO_PIN_RESET);
						HAL_Delay(T_desligado);

						HAL_GPIO_WritePin(C2_GPIO_Port,C2_Pin,GPIO_PIN_SET);
						HAL_GPIO_WritePin(C3_GPIO_Port,C3_Pin,GPIO_PIN_SET);
						HAL_GPIO_WritePin(C6_GPIO_Port,C6_Pin,GPIO_PIN_SET);
						HAL_GPIO_WritePin(C5_GPIO_Port,C5_Pin,GPIO_PIN_SET);
						HAL_Delay(T_ligado);

						HAL_GPIO_WritePin(C2_GPIO_Port,C2_Pin,GPIO_PIN_RESET);
						HAL_GPIO_WritePin(C3_GPIO_Port,C3_Pin,GPIO_PIN_RESET);
						HAL_GPIO_WritePin(C6_GPIO_Port,C6_Pin,GPIO_PIN_RESET);
						HAL_GPIO_WritePin(C5_GPIO_Port,C5_Pin,GPIO_PIN_RESET);
						HAL_Delay(T_desligado);

						HAL_GPIO_WritePin(L2_GPIO_Port,L2_Pin,GPIO_PIN_RESET);
						HAL_GPIO_WritePin(L3_GPIO_Port,L3_Pin,GPIO_PIN_RESET);
						break;

		}

    /* USER CODE END WHILE */

  }
}

void SystemClock_Config(void)
{
  RCC_OscInitTypeDef RCC_OscInitStruct = {0};
  RCC_ClkInitTypeDef RCC_ClkInitStruct = {0};

  /** Configure the main internal regulator output voltage
  */
  __HAL_PWR_VOLTAGESCALING_CONFIG(PWR_REGULATOR_VOLTAGE_SCALE1);
  /** Initializes the RCC Oscillators according to the specified parameters
  * in the RCC_OscInitTypeDef structure.
  */
  RCC_OscInitStruct.OscillatorType = RCC_OSCILLATORTYPE_HSI;
  RCC_OscInitStruct.HSIState = RCC_HSI_ON;
  RCC_OscInitStruct.HSICalibrationValue = RCC_HSICALIBRATION_DEFAULT;
  RCC_OscInitStruct.PLL.PLLState = RCC_PLL_ON;
  RCC_OscInitStruct.PLL.PLLSource = RCC_PLLSOURCE_HSI;
  RCC_OscInitStruct.PLL.PLLMUL = RCC_PLLMUL_3;
  RCC_OscInitStruct.PLL.PLLDIV = RCC_PLLDIV_2;
  if (HAL_RCC_OscConfig(&RCC_OscInitStruct) != HAL_OK)
  {
    Error_Handler();
  }
  /** Initializes the CPU, AHB and APB buses clocks
  */
  RCC_ClkInitStruct.ClockType = RCC_CLOCKTYPE_HCLK|RCC_CLOCKTYPE_SYSCLK
                              |RCC_CLOCKTYPE_PCLK1|RCC_CLOCKTYPE_PCLK2;
  RCC_ClkInitStruct.SYSCLKSource = RCC_SYSCLKSOURCE_PLLCLK;
  RCC_ClkInitStruct.AHBCLKDivider = RCC_SYSCLK_DIV1;
  RCC_ClkInitStruct.APB1CLKDivider = RCC_HCLK_DIV1;
  RCC_ClkInitStruct.APB2CLKDivider = RCC_HCLK_DIV1;

  if (HAL_RCC_ClockConfig(&RCC_ClkInitStruct, FLASH_LATENCY_1) != HAL_OK)
  {
    Error_Handler();
  }
}

/* USER CODE BEGIN 4 */
void controle(void)
{
		switch(x)
		{
			case 0: HAL_GPIO_WritePin(L1_GPIO_Port,L1_Pin,GPIO_PIN_SET);
							HAL_GPIO_WritePin(L2_GPIO_Port,L2_Pin,GPIO_PIN_RESET);
							HAL_GPIO_WritePin(L3_GPIO_Port,L3_Pin,GPIO_PIN_RESET);
							HAL_GPIO_WritePin(C1_GPIO_Port,C1_Pin,matriz[0][x] == 1 ? GPIO_PIN_SET:GPIO_PIN_RESET);
							HAL_GPIO_WritePin(C2_GPIO_Port,C2_Pin,matriz[1][x] == 1 ? GPIO_PIN_SET:GPIO_PIN_RESET);
							HAL_GPIO_WritePin(C3_GPIO_Port,C3_Pin,matriz[2][x] == 1 ? GPIO_PIN_SET:GPIO_PIN_RESET);
							HAL_GPIO_WritePin(C4_GPIO_Port,C4_Pin,matriz[3][x] == 1 ? GPIO_PIN_SET:GPIO_PIN_RESET);
							HAL_GPIO_WritePin(C5_GPIO_Port,C5_Pin,matriz[4][x] == 1 ? GPIO_PIN_SET:GPIO_PIN_RESET);
							HAL_GPIO_WritePin(C6_GPIO_Port,C6_Pin,matriz[5][x] == 1 ? GPIO_PIN_SET:GPIO_PIN_RESET);
							HAL_GPIO_WritePin(C7_GPIO_Port,C7_Pin,matriz[6][x] == 1 ? GPIO_PIN_SET:GPIO_PIN_RESET);
							HAL_GPIO_WritePin(C8_GPIO_Port,C8_Pin,matriz[7][x] == 1 ? GPIO_PIN_SET:GPIO_PIN_RESET);
							HAL_GPIO_WritePin(C9_GPIO_Port,C9_Pin,matriz[8][x] == 1 ? GPIO_PIN_SET:GPIO_PIN_RESET);
							x=1;
				break;

			case 1: HAL_GPIO_WritePin(L1_GPIO_Port,L1_Pin,GPIO_PIN_RESET);
							HAL_GPIO_WritePin(L2_GPIO_Port,L2_Pin,GPIO_PIN_SET);
							HAL_GPIO_WritePin(L3_GPIO_Port,L3_Pin,GPIO_PIN_RESET);
							HAL_GPIO_WritePin(C1_GPIO_Port,C1_Pin,matriz[0][x] == 1 ? GPIO_PIN_SET:GPIO_PIN_RESET);
							HAL_GPIO_WritePin(C2_GPIO_Port,C2_Pin,matriz[1][x] == 1 ? GPIO_PIN_SET:GPIO_PIN_RESET);
							HAL_GPIO_WritePin(C3_GPIO_Port,C3_Pin,matriz[2][x] == 1 ? GPIO_PIN_SET:GPIO_PIN_RESET);
							HAL_GPIO_WritePin(C4_GPIO_Port,C4_Pin,matriz[3][x] == 1 ? GPIO_PIN_SET:GPIO_PIN_RESET);
							HAL_GPIO_WritePin(C5_GPIO_Port,C5_Pin,matriz[4][x] == 1 ? GPIO_PIN_SET:GPIO_PIN_RESET);
							HAL_GPIO_WritePin(C6_GPIO_Port,C6_Pin,matriz[5][x] == 1 ? GPIO_PIN_SET:GPIO_PIN_RESET);
							HAL_GPIO_WritePin(C7_GPIO_Port,C7_Pin,matriz[6][x] == 1 ? GPIO_PIN_SET:GPIO_PIN_RESET);
							HAL_GPIO_WritePin(C8_GPIO_Port,C8_Pin,matriz[7][x] == 1 ? GPIO_PIN_SET:GPIO_PIN_RESET);
							HAL_GPIO_WritePin(C9_GPIO_Port,C9_Pin,matriz[8][x] == 1 ? GPIO_PIN_SET:GPIO_PIN_RESET);
							x=2;
				break;

			case 2: HAL_GPIO_WritePin(L1_GPIO_Port,L1_Pin,GPIO_PIN_RESET);
							HAL_GPIO_WritePin(L2_GPIO_Port,L2_Pin,GPIO_PIN_RESET);
							HAL_GPIO_WritePin(L3_GPIO_Port,L3_Pin,GPIO_PIN_SET);
							HAL_GPIO_WritePin(C1_GPIO_Port,C1_Pin,matriz[0][x] == 1 ? GPIO_PIN_SET:GPIO_PIN_RESET);
							HAL_GPIO_WritePin(C2_GPIO_Port,C2_Pin,matriz[1][x] == 1 ? GPIO_PIN_SET:GPIO_PIN_RESET);
							HAL_GPIO_WritePin(C3_GPIO_Port,C3_Pin,matriz[2][x] == 1 ? GPIO_PIN_SET:GPIO_PIN_RESET);
							HAL_GPIO_WritePin(C4_GPIO_Port,C4_Pin,matriz[3][x] == 1 ? GPIO_PIN_SET:GPIO_PIN_RESET);
							HAL_GPIO_WritePin(C5_GPIO_Port,C5_Pin,matriz[4][x] == 1 ? GPIO_PIN_SET:GPIO_PIN_RESET);
							HAL_GPIO_WritePin(C6_GPIO_Port,C6_Pin,matriz[5][x] == 1 ? GPIO_PIN_SET:GPIO_PIN_RESET);
							HAL_GPIO_WritePin(C7_GPIO_Port,C7_Pin,matriz[6][x] == 1 ? GPIO_PIN_SET:GPIO_PIN_RESET);
							HAL_GPIO_WritePin(C8_GPIO_Port,C8_Pin,matriz[7][x] == 1 ? GPIO_PIN_SET:GPIO_PIN_RESET);
							HAL_GPIO_WritePin(C9_GPIO_Port,C9_Pin,matriz[8][x] == 1 ? GPIO_PIN_SET:GPIO_PIN_RESET);
							x=0;
				break;
		}

}
void vartec(void)
{
	switch(y)
	{
		case 1: HAL_GPIO_WritePin(Coluna1_GPIO_Port,Coluna1_Pin,GPIO_PIN_RESET);
					  HAL_GPIO_WritePin(Coluna2_GPIO_Port,Coluna2_Pin,GPIO_PIN_SET);
					  HAL_GPIO_WritePin(Coluna3_GPIO_Port,Coluna3_Pin,GPIO_PIN_SET);
						if (HAL_GPIO_ReadPin(Linha1_GPIO_Port,Linha1_Pin)==0)
						{
							vtec=1;
						}
						if (HAL_GPIO_ReadPin(Linha2_GPIO_Port,Linha2_Pin)==0)
						{
							vtec=4;
						}
						if (HAL_GPIO_ReadPin(Linha3_GPIO_Port,Linha3_Pin)==0)
						{
							vtec=7;
						}
						if (HAL_GPIO_ReadPin(Linha4_GPIO_Port,Linha4_Pin)==0)
						{
							vtec=0;
						}
						y=2;
				break;

		case 2: HAL_GPIO_WritePin(Coluna1_GPIO_Port,Coluna1_Pin,GPIO_PIN_SET);
					  HAL_GPIO_WritePin(Coluna2_GPIO_Port,Coluna2_Pin,GPIO_PIN_RESET);
					  HAL_GPIO_WritePin(Coluna3_GPIO_Port,Coluna3_Pin,GPIO_PIN_SET);
						if (HAL_GPIO_ReadPin(Linha1_GPIO_Port,Linha1_Pin)==0)
						{
							vtec=2;
						}
						if (HAL_GPIO_ReadPin(Linha2_GPIO_Port,Linha2_Pin)==0)
						{
							vtec=5;
						}
						if (HAL_GPIO_ReadPin(Linha3_GPIO_Port,Linha3_Pin)==0)
						{
							vtec=8;
						}
						if (HAL_GPIO_ReadPin(Linha4_GPIO_Port,Linha4_Pin)==0)
						{
							vtec=0;
						}
						y=3;
				break;

		case 3: HAL_GPIO_WritePin(Coluna1_GPIO_Port,Coluna1_Pin,GPIO_PIN_SET);
					  HAL_GPIO_WritePin(Coluna2_GPIO_Port,Coluna2_Pin,GPIO_PIN_SET);
					  HAL_GPIO_WritePin(Coluna3_GPIO_Port,Coluna3_Pin,GPIO_PIN_RESET);
						if (HAL_GPIO_ReadPin(Linha1_GPIO_Port,Linha1_Pin)==0)
						{
							vtec=3;
						}
						if (HAL_GPIO_ReadPin(Linha2_GPIO_Port,Linha2_Pin)==0)
						{
							vtec=6;
						}
						if (HAL_GPIO_ReadPin(Linha3_GPIO_Port,Linha3_Pin)==0)
						{
							vtec=9;
						}
						if (HAL_GPIO_ReadPin(Linha4_GPIO_Port,Linha4_Pin)==0)
						{
							vtec=0;
						}
						y=1;
				break;

	}

}
void HAL_TIM_PeriodElapsedCallback(TIM_HandleTypeDef *htim)
{
	vartec();
	//controle();

}
/* USER CODE END 4 */

void Error_Handler(void)
{
  __disable_irq();
  while (1)
  {
  }
}
